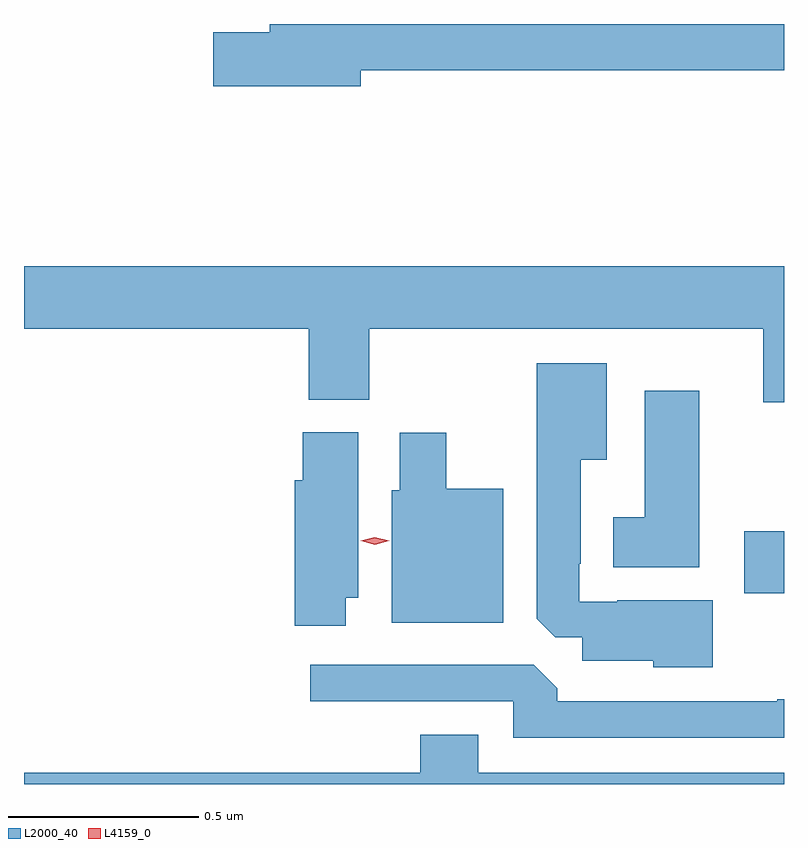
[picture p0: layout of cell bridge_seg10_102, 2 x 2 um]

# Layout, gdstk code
import gdstk
lib = gdstk.Library(unit=1e-6, precision=1e-09)
def R(c, l, rs):  # rectangles x0, y0, x1, y1
    for r in rs: c.add(gdstk.rectangle(r[:2], r[2:], *l))
def P(c, l, *ps):  # polygons
    for p in ps: c.add(gdstk.Polygon(p, *l))
L2000_40 = (2000, 40)
L4159_0 = (4159, 0)

bridge_seg10_102 = lib.new_cell('bridge_seg10_102')
R(bridge_seg10_102, L2000_40, [(504.618,1304.948,504.722,1305.111)])
P(bridge_seg10_102, L2000_40, [(503.608,1306.324),(504.722,1306.324),(504.722,1306.446),(503.369,1306.446),(503.369,1306.424),(503.22,1306.424),(503.22,1306.282),(503.608,1306.282)],
  [(504.722,1305.808),(502.722,1305.808),(502.722,1305.644),(503.471,1305.644),(503.471,1305.457),(503.631,1305.457),(503.631,1305.644),(504.668,1305.644),(504.668,1305.45),(504.722,1305.45)],
  [(504.535,1304.929),(504.283,1304.929),(504.283,1304.925),(504.183,1304.925),(504.183,1305.025),(504.187,1305.025),(504.187,1305.299),(504.256,1305.299),(504.256,1305.553),(504.071,1305.553),(504.071,1304.881),(504.12,1304.832),(504.191,1304.832),(504.191,1304.771),(504.378,1304.771),(504.378,1304.753),(504.535,1304.753)],
  [(504.499,1305.481),(504.356,1305.481),(504.356,1305.148),(504.272,1305.148),(504.272,1305.017),(504.499,1305.017)],
  [(503.569,1304.936),(503.602,1304.936),(503.602,1305.372),(503.456,1305.372),(503.456,1305.246),(503.435,1305.246),(503.435,1304.862),(503.569,1304.862)],
  [(503.983,1305.223),(503.833,1305.223),(503.833,1305.37),(503.711,1305.37),(503.711,1305.219),(503.69,1305.219),(503.69,1304.87),(503.983,1304.87)],
  [(504.722,1304.669),(504.704,1304.669),(504.704,1304.664),(504.125,1304.664),(504.125,1304.698),(504.063,1304.76),(503.475,1304.76),(503.475,1304.664),(504.009,1304.664),(504.009,1304.568),(504.722,1304.568)],
  [(504.722,1304.476),(503.917,1304.476),(503.917,1304.575),(503.765,1304.575),(503.765,1304.476),(502.722,1304.476),(502.722,1304.446),(504.722,1304.446)])
P(bridge_seg10_102, L4159_0, [(503.645,1305.076),(503.608,1305.086),(503.607,1305.086),(503.608,1305.086),(503.645,1305.096),(503.683,1305.086),(503.683,1305.086),(503.683,1305.086)])

lib.write_gds('bridge_seg10_102.gds')
